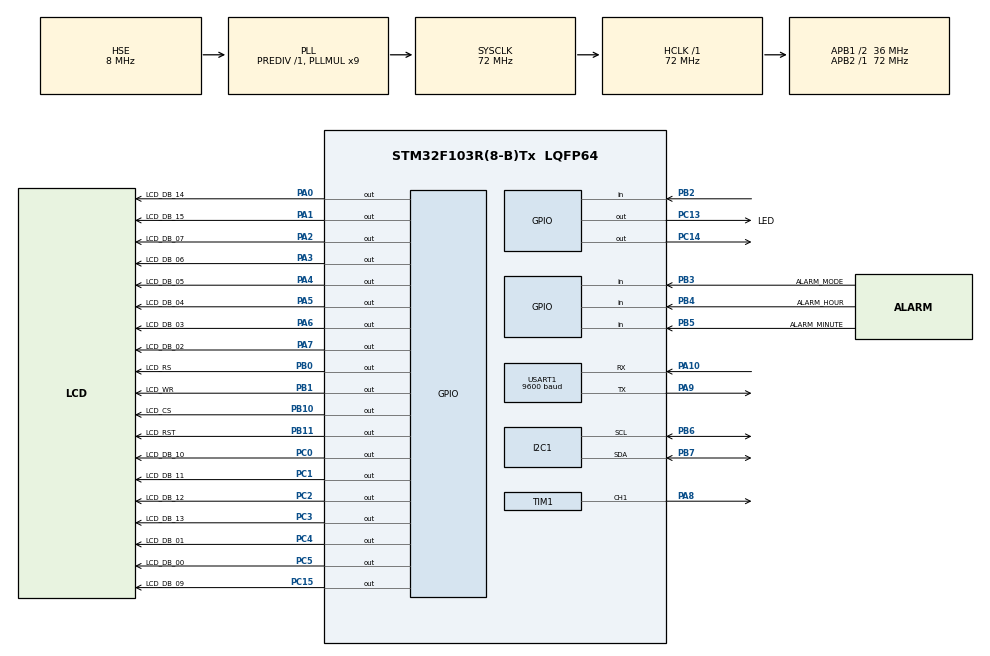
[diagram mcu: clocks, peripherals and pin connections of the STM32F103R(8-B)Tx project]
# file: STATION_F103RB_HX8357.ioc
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Dma.Request0=USART1_TX
Dma.Request1=USART1_RX
Dma.Request2=TIM1_CH1
Dma.TIM1_CH1.2.Direction=DMA_PERIPH_TO_MEMORY
Dma.TIM1_CH1.2.Instance=DMA1_Channel2
Dma.TIM1_CH1.2.MemDataAlignment=DMA_MDATAALIGN_HALFWORD
Dma.TIM1_CH1.2.MemInc=DMA_MINC_ENABLE
Dma.TIM1_CH1.2.Mode=DMA_NORMAL
Dma.TIM1_CH1.2.PeriphDataAlignment=DMA_PDATAALIGN_HALFWORD
Dma.TIM1_CH1.2.PeriphInc=DMA_PINC_DISABLE
Dma.TIM1_CH1.2.Priority=DMA_PRIORITY_LOW
Dma.USART1_RX.1.Direction=DMA_PERIPH_TO_MEMORY
Dma.USART1_RX.1.Instance=DMA1_Channel5
Dma.USART1_RX.1.MemDataAlignment=DMA_MDATAALIGN_BYTE
Dma.USART1_RX.1.MemInc=DMA_MINC_ENABLE
Dma.USART1_RX.1.Mode=DMA_NORMAL
Dma.USART1_RX.1.PeriphDataAlignment=DMA_PDATAALIGN_BYTE
Dma.USART1_RX.1.PeriphInc=DMA_PINC_DISABLE
Dma.USART1_RX.1.Priority=DMA_PRIORITY_LOW
Dma.USART1_TX.0.Direction=DMA_MEMORY_TO_PERIPH
Dma.USART1_TX.0.Instance=DMA1_Channel4
Dma.USART1_TX.0.MemDataAlignment=DMA_MDATAALIGN_BYTE
Dma.USART1_TX.0.MemInc=DMA_MINC_ENABLE
Dma.USART1_TX.0.Mode=DMA_NORMAL
Dma.USART1_TX.0.PeriphDataAlignment=DMA_PDATAALIGN_BYTE
Dma.USART1_TX.0.PeriphInc=DMA_PINC_DISABLE
Dma.USART1_TX.0.Priority=DMA_PRIORITY_LOW
Mcu.Family=STM32F1
Mcu.Name=STM32F103R(8-B)Tx
Mcu.Package=LQFP64
NVIC.DMA1_Channel2_IRQn=true\:0\:0\:false\:false\:true\:false\:true
NVIC.DMA1_Channel4_IRQn=true\:0\:0\:false\:false\:true\:false\:true
NVIC.DMA1_Channel5_IRQn=true\:0\:0\:false\:false\:true\:false\:true
NVIC.PriorityGroup=NVIC_PRIORITYGROUP_4
NVIC.USART1_IRQn=true\:0\:0\:false\:false\:true\:true\:true
PA0-WKUP.GPIO_Label=LCD_DB_14
PA0-WKUP.GPIO_Speed=GPIO_SPEED_FREQ_HIGH
PA0-WKUP.Signal=GPIO_Output
PA1.GPIO_Label=LCD_DB_15
PA1.GPIO_Speed=GPIO_SPEED_FREQ_HIGH
PA1.Signal=GPIO_Output
PA10.Mode=Asynchronous
PA10.Signal=USART1_RX
PA13.Mode=Serial_Wire
PA13.Signal=SYS_JTMS-SWDIO
PA14.Mode=Serial_Wire
PA14.Signal=SYS_JTCK-SWCLK
PA2.GPIO_Label=LCD_DB_07
PA2.GPIO_Speed=GPIO_SPEED_FREQ_HIGH
PA2.Signal=GPIO_Output
PA3.GPIO_Label=LCD_DB_06
PA3.GPIO_Speed=GPIO_SPEED_FREQ_HIGH
PA3.Signal=GPIO_Output
PA4.GPIO_Label=LCD_DB_05
PA4.GPIO_Speed=GPIO_SPEED_FREQ_HIGH
PA4.Signal=GPIO_Output
PA5.GPIO_Label=LCD_DB_04
PA5.GPIO_Speed=GPIO_SPEED_FREQ_HIGH
PA5.Signal=GPIO_Output
PA6.GPIO_Label=LCD_DB_03
PA6.GPIO_Speed=GPIO_SPEED_FREQ_HIGH
PA6.Signal=GPIO_Output
PA7.GPIO_Label=LCD_DB_02
PA7.GPIO_Speed=GPIO_SPEED_FREQ_HIGH
PA7.Signal=GPIO_Output
PA8.Signal=S_TIM1_CH1
PA9.Mode=Asynchronous
PA9.Signal=USART1_TX
PB0.GPIO_Label=LCD_RS
PB0.GPIO_Speed=GPIO_SPEED_FREQ_HIGH
PB0.Signal=GPIO_Output
PB1.GPIO_Label=LCD_WR
PB1.GPIO_Speed=GPIO_SPEED_FREQ_HIGH
PB1.Signal=GPIO_Output
PB10.GPIO_Label=LCD_CS
PB10.GPIO_Speed=GPIO_SPEED_FREQ_HIGH
PB10.Signal=GPIO_Output
PB11.GPIO_Label=LCD_RST
PB11.GPIO_Speed=GPIO_SPEED_FREQ_HIGH
PB11.Signal=GPIO_Output
PB2.Signal=GPIO_Input
PB3.GPIO_Label=ALARM_MODE
PB3.Signal=GPIO_Input
PB4.GPIO_Label=ALARM_HOUR
PB4.Signal=GPIO_Input
PB5.GPIO_Label=ALARM_MINUTE
PB5.Signal=GPIO_Input
PB6.Mode=I2C
PB6.Signal=I2C1_SCL
PB7.Mode=I2C
PB7.Signal=I2C1_SDA
PC0.GPIO_Label=LCD_DB_10
PC0.GPIO_Speed=GPIO_SPEED_FREQ_HIGH
PC0.Signal=GPIO_Output
PC1.GPIO_Label=LCD_DB_11
PC1.GPIO_Speed=GPIO_SPEED_FREQ_HIGH
PC1.Signal=GPIO_Output
PC13-TAMPER-RTC.GPIO_Label=LED
PC13-TAMPER-RTC.Signal=GPIO_Output
PC14-OSC32_IN.Signal=GPIO_Output
PC15-OSC32_OUT.GPIO_Label=LCD_DB_09
PC15-OSC32_OUT.GPIO_Speed=GPIO_SPEED_FREQ_HIGH
PC15-OSC32_OUT.Signal=GPIO_Output
PC2.GPIO_Label=LCD_DB_12
PC2.GPIO_Speed=GPIO_SPEED_FREQ_HIGH
PC2.Signal=GPIO_Output
PC3.GPIO_Label=LCD_DB_13
PC3.GPIO_Speed=GPIO_SPEED_FREQ_HIGH
PC3.Signal=GPIO_Output
PC4.GPIO_Label=LCD_DB_01
PC4.GPIO_Speed=GPIO_SPEED_FREQ_HIGH
PC4.Signal=GPIO_Output
PC5.GPIO_Label=LCD_DB_00
PC5.GPIO_Speed=GPIO_SPEED_FREQ_HIGH
PC5.Signal=GPIO_Output
PD0-OSC_IN.Mode=HSE-External-Oscillator
PD0-OSC_IN.Signal=RCC_OSC_IN
PD1-OSC_OUT.Mode=HSE-External-Oscillator
PD1-OSC_OUT.Signal=RCC_OSC_OUT
ProjectManager.HeapSize=0x200
ProjectManager.StackSize=0x400
ProjectManager.TargetToolchain=STM32CubeIDE
RCC.AHBFreq_Value=72000000
RCC.APB1CLKDivider=RCC_HCLK_DIV2
RCC.APB1Freq_Value=36000000
RCC.APB1TimFreq_Value=72000000
RCC.APB2Freq_Value=72000000
RCC.APB2TimFreq_Value=72000000
RCC.HCLKFreq_Value=72000000
RCC.PLLMUL=RCC_PLL_MUL9
RCC.PLLSourceVirtual=RCC_PLLSOURCE_HSE
RCC.SYSCLKFreq_VALUE=72000000
RCC.SYSCLKSource=RCC_SYSCLKSOURCE_PLLCLK
RCC.USBFreq_Value=72000000
SH.S_TIM1_CH1.0=TIM1_CH1,PWM Generation1 CH1
TIM1.Channel-PWM\ Generation1\ CH1=TIM_CHANNEL_1
USART1.BaudRate=9600
USART1.VirtualMode=VM_ASYNC
VP_TIM1_VS_ClockSourceINT.Mode=Internal
board=custom

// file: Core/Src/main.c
/* USER CODE BEGIN Header */
/**
 ******************************************************************************
 * @file           : main.c
 * @brief          : Main program body
 ******************************************************************************
 * @attention
 *
 * Copyright (c) 2022 STMicroelectronics.
 * All rights reserved.
 *
 * This software is licensed under terms that can be found in the LICENSE file
 * in the root directory of this software component.
 * If no LICENSE file comes with this software, it is provided AS-IS.
 *
 ******************************************************************************
 */
/* USER CODE END Header */
#include "main.h"

/* USER CODE BEGIN Includes */
#include <stdio.h>
#include <math.h>
#include "string.h"
#include "hx8357.h"
#include "bme280.h"
#include "ds3231.h"
#include "at24xx.h"
#include "fonts/DejaVu_Sans/008_DejaVu_Sans.h"
#include "fonts/DejaVu_Sans/009_DejaVu_Sans.h"
#include "fonts/DejaVu_Sans/010_DejaVu_Sans.h"
#include "fonts/DejaVu_Sans/011_DejaVu_Sans.h"
#include "fonts/DejaVu_Sans/012_DejaVu_Sans.h"
#include "fonts/DejaVu_Sans/014_DejaVu_Sans.h"
#include "fonts/DejaVu_Sans/016_DejaVu_Sans.h"
#include "fonts/DejaVu_Sans/018_DejaVu_Sans.h"
#include "fonts/DejaVu_Sans/020_DejaVu_Sans.h"
#include "fonts/DejaVu_Sans/022_DejaVu_Sans.h"
#include "fonts/DejaVu_Sans/024_DejaVu_Sans.h"
#include "fonts/DejaVu_Sans/026_DejaVu_Sans.h"
#include "fonts/DejaVu_Sans/028_DejaVu_Sans.h"
#include "fonts/DejaVu_Sans/036_DejaVu_Sans.h"
#include "fonts/DejaVu_Sans/048_DejaVu_Sans.h"
#include "fonts/DejaVu_Sans/072_DejaVu_Sans.h"
#include "fonts/DejaVu_Sans/096_DejaVu_Sans.h"
#include "fonts/DejaVu_Sans/112_DejaVu_Sans.h"
#include "fonts/DejaVu_Sans/128_DejaVu_Sans.h"

/* USER CODE END Includes */

/* USER CODE BEGIN PD */
#define MIN_TEMPERATURE_X10 226
#define MAX_TEMPERATURE_X10 290

#define MIN_HUMIDITY_X10 80
#define MAX_HUMIDITY_X10 720

#define MIN_PRESSURE 937
#define MAX_PRESSURE 1065

#define UART_RX_BUFFER_SIZE 16
#define UART_TX_BUFFER_SIZE 10000

#define WAIT_REMOTE_SENSOR_SEC 100
/* USER CODE END PD */

/* USER CODE BEGIN PM */
double map(uint16_t x, uint16_t in_min, uint16_t in_max, uint16_t out_min, uint16_t out_max) {
	return (x - in_min) * (out_max - out_min) / (in_max - in_min) + out_min;
}

uint8_t byteL(uint16_t val) {
	return (val & 0xFF);
}

uint8_t byteH(uint16_t val) {
	return ((val >> 8) & 0xFF);
}

uint16_t byteS(uint8_t byteL, uint8_t byteH) {
	return (byteH << 8) | byteL;
}
/* USER CODE END PM */

I2C_HandleTypeDef hi2c1;

TIM_HandleTypeDef htim1;
DMA_HandleTypeDef hdma_tim1_ch1;

UART_HandleTypeDef huart1;
DMA_HandleTypeDef hdma_usart1_tx;
DMA_HandleTypeDef hdma_usart1_rx;

/* USER CODE BEGIN PV */
uint8_t viewGraphs;
uint8_t rtcSec, rtcMin, rtcHrs, rtcDay, rtcDate, rtcMonth, rtcYear;
uint8_t rtcSecLast = 61, rtcMinLast = 61, rtcHrsLast = 25, rtcDayLast, rtcDateLast, rtcMonthLast, rtcYearLast;
double temperature, temperatureLast, humidity, humidityLast, temperatureRemote, temperatureRemoteLast, humidityRemote, humidityRemoteLast;
uint16_t pressure, pressureLast, remoteSensorLastUpdate = WAIT_REMOTE_SENSOR_SEC + 1;
int16_t hT[155], hH[155], hP[155];
/* USER CODE END PV */

void SystemClock_Config(void);
static void MX_GPIO_Init(void);
static void MX_I2C1_Init(void);
static void MX_DMA_Init(void);
static void MX_USART1_UART_Init(void);
static void MX_TIM1_Init(void);

/* USER CODE BEGIN 0 */
uint8_t rx_buffer[UART_RX_BUFFER_SIZE];
uint8_t rx_index = 0;
uint8_t rx_data;

void HAL_UART_RxCpltCallback(UART_HandleTypeDef *huart) {
	if (huart->Instance == USART1) {
		rx_buffer[rx_index++] = rx_data;
		HAL_UART_Receive_DMA(&huart1, &rx_data, 1);
	}
}
/* USER CODE END 0 */

int main(void)
{

  /* MCU Configuration--------------------------------------------------------*/

  /* Reset of all peripherals, Initializes the Flash interface and the Systick. */
  HAL_Init();

  /* Configure the system clock */
  SystemClock_Config();

  /* Initialize all configured peripherals */
  MX_GPIO_Init();
  MX_I2C1_Init();
  MX_DMA_Init();
  MX_USART1_UART_Init();
  MX_TIM1_Init();
  /* USER CODE BEGIN 2 */
	LCD_Init();

	LCD_Rect_Fill(0, 0, 480, 320, BLUE);
	LCD_Rect_Fill(1, 1, 478, 318, BLACK);

	LCD_Font(20, 127, "Waiting for I2C", &DejaVu_Sans_48, 1, RED);
	for (uint16_t i = 0; i < 155; i++) hT[i] = byteS(AT24XX_Read(i * 2 + 1000), AT24XX_Read(i * 2 + 1 + 1000));
	for (uint16_t i = 0; i < 155; i++) hH[i] = byteS(AT24XX_Read(i * 2 + 2000), AT24XX_Read(i * 2 + 1 + 2000));
	for (uint16_t i = 0; i < 155; i++) hP[i] = byteS(AT24XX_Read(i * 2 + 3000), AT24XX_Read(i * 2 + 1 + 3000));
	LCD_Font(20, 127, "Waiting for I2C", &DejaVu_Sans_48, 1, BLACK);

	BME280_Init();

	HAL_TIM_PWM_Start(&htim1, TIM_CHANNEL_1);

	//	uint8_t uartTransmit[] = "UART OK\r\n";
	//	HAL_UART_Transmit(&huart1, uartTransmit, sizeof(uartTransmit), 100);
	uint8_t uartTransmitDMA[] = "UART DMA OK\r\n";
	HAL_UART_Transmit_DMA(&huart1, uartTransmitDMA, sizeof(uartTransmitDMA));

	//	HAL_UART_Receive_IT(&huart1, &rx_data, UART_RX_BUFFER_SIZE);
	HAL_UART_Receive_DMA (&huart1, rx_buffer, UART_RX_BUFFER_SIZE);

	for (uint32_t i = 0; i <= 65536; i++) TIM1->CCR1 = i;

/*	DS3231_setHrs(10);
	DS3231_setMin(15);
	DS3231_setSec(0);
	DS3231_setDate(07);
	DS3231_setMonth(1);
	DS3231_setYear(22);
	DS3231_setDay(5);
*/
  /* USER CODE END 2 */

  /* Infinite loop */
  /* USER CODE BEGIN WHILE */
	while (1)
	{
		rtcSec = DS3231_getSec();

		char clockPrint[13];

		if (rtcSecLast != rtcSec) {

			rtcMin = DS3231_getMin();

			LCD_Circle(170, 35, 8, 0, 1, ORANGE);
			LCD_Circle(170, 75, 8, 0, 1, ORANGE);

			if (rtcSec % 2 != 0) {
				LCD_Circle(170, 35, 7, 1, 1, ORANGE);
				LCD_Circle(170, 75, 7, 1, 1, ORANGE);
				HAL_GPIO_WritePin(GPIOC, GPIO_PIN_13, GPIO_PIN_RESET);
			}
			else {
				LCD_Circle(170, 35, 7, 1, 1, BLACK);
				LCD_Circle(170, 75, 7, 1, 1, BLACK);
				HAL_GPIO_WritePin(GPIOC, GPIO_PIN_13, GPIO_PIN_SET);
			}

			if (rtcMinLast != rtcMin) {

				rtcHrs = DS3231_getHrs();

				sprintf(clockPrint, "%02d", rtcMinLast);
				LCD_Font(178, 100, clockPrint, &DejaVu_Sans_128, 1, BLACK);
				sprintf(clockPrint, "%02d", rtcMin);
				LCD_Font(178, 100, clockPrint, &DejaVu_Sans_128, 1, ORANGE);

				if (rtcHrsLast != rtcHrs) {

					rtcDay = DS3231_getDay();
					rtcDate = DS3231_getDate();
					rtcMonth = DS3231_getMonth();
					rtcYear = DS3231_getYear();

					sprintf(clockPrint, "%02d", rtcHrsLast);
					LCD_Font(0, 100, clockPrint, &DejaVu_Sans_128, 1, BLACK);
					sprintf(clockPrint, "%02d", rtcHrs);
					LCD_Font(0, 100, clockPrint, &DejaVu_Sans_128, 1, ORANGE);

					if (rtcDayLast != rtcDay) {

						static const char* days[7] = { "MON", "TUE", "WED", "THU", "FRI", "SAT", "SUN" };
						LCD_Font(5, 140, days[(7 + rtcDay - 2) % 7], &DejaVu_Sans_48, 1, BLACK);
						LCD_Font(5, 140, days[(7 + rtcDay - 1) % 7], &DejaVu_Sans_48, 1, BLUE);

						static const char* months[12] = { "JAN", "FEB", "MAR", "APR", "MAY", "JUN", "JUL", "AUG", "SEP", "OCT", "NOV", "DEC" };

						LCD_Font(150, 140, months[(12 + rtcMonth - 2) % 12], &DejaVu_Sans_48, 1, BLACK);
						LCD_Font(150, 140, months[(12 + rtcMonth - 1) % 12], &DejaVu_Sans_48, 1, CYAN);

						sprintf(clockPrint, "%02d-%02d-%02d", rtcDateLast, rtcMonthLast, rtcYearLast);
						LCD_Font(250, 140, clockPrint, &DejaVu_Sans_48, 1, BLACK);
						sprintf(clockPrint, "%02d-%02d-%02d", rtcDate, rtcMonth, rtcYear);
						LCD_Font(250, 140, clockPrint, &DejaVu_Sans_48, 1, CYAN);

						rtcDayLast = rtcDay;
						rtcDateLast = rtcDate;
					}
					rtcMonthLast = rtcMonth;
					rtcYearLast = rtcYear;
					rtcHrsLast = rtcHrs;
				}
				rtcMinLast = rtcMin;
				temperature = BME280_getTemperature(-1);
				humidity = BME280_getHumidity(-1);
				pressure = (uint16_t)BME280_getPressure();

				if (pressure > 900 && pressure < 1100 && temperature < 85 && temperature > -40 && humidity > 0 && humidity < 100) {

					if (temperature != temperatureLast) {

						char weatherPrintT[8];

						if (temperatureLast >= 10 || (temperatureLast < 0 && temperatureLast > -10)) {
							sprintf(weatherPrintT, "%.1f'C", temperatureLast);
							LCD_Font(1, 187, weatherPrintT, &DejaVu_Sans_48, 1, BLACK);
						}
						else if (temperatureLast < 10 && temperatureLast > 0) {
							sprintf(weatherPrintT, "%.1f'C", temperatureLast);
							LCD_Font(27, 187, weatherPrintT, &DejaVu_Sans_48, 1, BLACK);
						}
						else if (temperatureLast <= -10) {
							sprintf(weatherPrintT, "%2d'C", (int8_t)temperatureLast);
							LCD_Font(1, 187, weatherPrintT, &DejaVu_Sans_48, 1, BLACK);
						}

						if (temperature >= 10 || (temperature < 0 && temperature > -10)) {
							sprintf(weatherPrintT, "%.1f'C", temperature);
							LCD_Font(1, 187, weatherPrintT, &DejaVu_Sans_48, 1, ORANGE);
						}
						else if (temperature < 10 && temperature > 0) {
							sprintf(weatherPrintT, "%.1f'C", temperature);
							LCD_Font(27, 187, weatherPrintT, &DejaVu_Sans_48, 1, ORANGE);
						}
						else if (temperature <= -10) {
							sprintf(weatherPrintT, "%2d'C", (int8_t)temperature);
							LCD_Font(1, 187, weatherPrintT, &DejaVu_Sans_48, 1, ORANGE);
						}

						temperatureLast = temperature;
					}

					if (humidity != humidityLast) {

						char weatherPrintH[7];

						sprintf(weatherPrintH, "%.1f'H", humidityLast);
						if (humidityLast >= 10)
							LCD_Font(160, 187, weatherPrintH, &DejaVu_Sans_48, 1, BLACK);
						else LCD_Font(186, 187, weatherPrintH, &DejaVu_Sans_48, 1, BLACK);

						sprintf(weatherPrintH, "%.1f'H", humidity);
						if (humidity >= 10)
							LCD_Font(160, 187, weatherPrintH, &DejaVu_Sans_48, 1, CYAN);
						else LCD_Font(186, 187, weatherPrintH, &DejaVu_Sans_48, 1, CYAN);

						humidityLast = humidity;
					}

					if (pressureLast != pressure) {

						char weatherPrintP[11];

						if (pressureLast >= 1000) sprintf(weatherPrintP, "%02dP", pressureLast);
						LCD_Font(320, 187, weatherPrintP, &DejaVu_Sans_48, 1, BLACK);

						if (pressureLast < 1000) sprintf(weatherPrintP, " %02dP", pressureLast);
						LCD_Font(320, 187, weatherPrintP, &DejaVu_Sans_48, 1, BLACK);

						pressureLast = pressure;

						if (pressureLast >= 1000) sprintf(weatherPrintP, "%02dP", pressureLast);
						LCD_Font(320, 187, weatherPrintP, &DejaVu_Sans_48, 1, GREEN);

						if (pressureLast < 1000) sprintf(weatherPrintP, " %02dP", pressureLast);
						LCD_Font(320, 187, weatherPrintP, &DejaVu_Sans_48, 1, GREEN);
					}

					if (AT24XX_Read(0) != rtcHrs) {

						AT24XX_Update(0, rtcHrs);

						for (uint16_t i = 0; i < 155; i++) hT[i] = byteS(AT24XX_Read(i * 2 + 1000), AT24XX_Read(i * 2 + 1 + 1000));
						for (uint16_t i = 154; i > 0; i--) hT[i] = hT[i - 1];
						hT[0] = (uint16_t) (temperature * 10);

						for (uint16_t i = 0; i < 155; i++) {
							AT24XX_Update(i * 2 + 1000, byteL(hT[i]));
							AT24XX_Update(i * 2 + 1 + 1000, byteH(hT[i]));
						}

						for (uint16_t i = 0; i < 155; i++) hH[i] = byteS(AT24XX_Read(i * 2 + 2000), AT24XX_Read(i * 2 + 1 + 2000));
						for (uint16_t i = 154; i > 0; i--) hH[i] = hH[i - 1];
						hH[0] = (uint16_t) (humidity * 10);

						for (uint16_t i = 0; i < 155; i++) {
							AT24XX_Update(i * 2 + 2000, byteL(hH[i]));
							AT24XX_Update(i * 2 + 1 + 2000, byteH(hH[i]));
						}

						for (uint16_t i = 0; i < 155; i++) hP[i] = byteS(AT24XX_Read(i * 2 + 3000), AT24XX_Read(i * 2 + 1 + 3000));
						for (uint16_t i = 154; i > 0; i--) hP[i] = hP[i - 1];
						hP[0] = (uint16_t)pressure;

						for (uint16_t i = 0; i < 155; i++) {
							AT24XX_Update(i * 2 + 3000, byteL(hP[i]));
							AT24XX_Update(i * 2 + 1 + 3000, byteH(hP[i]));
						}

						viewGraphs = 0;
					}

					LCD_Rect(2, 189, 157, 129, 1, BLUE);
					int16_t valMap = map(((int16_t)(temperature * 10)), MIN_TEMPERATURE_X10, MAX_TEMPERATURE_X10, 0, 128);
					if (valMap < 0) valMap = 0;
					if (valMap > 127) valMap = 127;
					LCD_Line(3 + 155, 191, 3 + 155, 317, 1, BLACK);
					if (valMap) LCD_Line(3 + 155, 191 + (127 - valMap), 3 + 155, 317,
							1, RGB(255 - ((127 - valMap) * 2), 0, 255 - (255 - ((127 - valMap) * 2))));

					LCD_Rect(161, 189, 157, 129, 1, BLUE);
					valMap = map(((int16_t)(humidity * 10)), MIN_HUMIDITY_X10, MAX_HUMIDITY_X10, 0, 128);
					if (valMap < 0) valMap = 0;
					if (valMap > 127) valMap = 127;
					LCD_Line(162 + 155, 191, 162 + 155, 317, 1, BLACK);
					if (valMap) LCD_Line(162 + 155, 191 + (127 - valMap), 162 + 155, 317,
							1, RGB(255 - ((127 - valMap) * 2), 0, 255 - (255 - ((127 - valMap) * 2))));

					LCD_Rect(320, 189, 157, 129, 1, BLUE);
					valMap = map(((int16_t)(pressure)), MIN_PRESSURE, MAX_PRESSURE, 0, 128);
					if (valMap < 0) valMap = 0;
					if (valMap > 127) valMap = 127;
					LCD_Line(321 + 155, 191, 321 + 155, 317, 1, BLACK);
					if (valMap) LCD_Line(321 + 155, 191 + (127 - valMap), 321 + 155, 317,
							1, RGB(255 - ((127 - valMap) * 2), 0, 255 - (255 - ((127 - valMap) * 2))));

					if (!viewGraphs) {

						for (uint16_t i = 0; i < 155 ; i++) {
							valMap = map(((int16_t)hT[i]), MIN_TEMPERATURE_X10, MAX_TEMPERATURE_X10, 0, 128);
							if (valMap < 0) valMap = 0;
							if (valMap > 127) valMap = 127;
							LCD_Line(3 + (154-i), 191, 3 + (154-i), 317, 1, BLACK);
							if (valMap) LCD_Line(3 + (154-i), 191 + (127 - valMap), 3 + (154-i), 317,
									1, RGB(255 - ((127 - valMap) * 2), 0, 255 - (255 - ((127 - valMap) * 2))));
						}

						for (uint16_t i = 0; i < 155 ; i++) {
							valMap = map(((int16_t)hH[i]), MIN_HUMIDITY_X10, MAX_HUMIDITY_X10, 0, 128);
							if (valMap < 0) valMap = 0;
							if (valMap > 127) valMap = 127;
							LCD_Line(162 + (154-i), 191, 162 + (154-i), 317, 1, BLACK);
							if (valMap) LCD_Line(162 + (154-i), 191 + (127 - valMap), 162 + (154-i), 317,
									1, RGB(255 - ((127 - valMap) * 2), 0, 255 - (255 - ((127 - valMap) * 2))));
						}

						for (uint16_t i = 0; i < 155 ; i++) {
							valMap = map(((int16_t)hP[i]), MIN_PRESSURE, MAX_PRESSURE, 0, 128);
							if (valMap < 0) valMap = 0;
							if (valMap > 127) valMap = 127;
							LCD_Line(321 + (154-i), 191, 321 + (154-i), 317, 1, BLACK);
							if (valMap) LCD_Line(321 + (154-i), 191 + (127 - valMap), 321 + (154-i), 317,
									1, RGB(255 - ((127 - valMap) * 2), 0, 255 - (255 - ((127 - valMap) * 2))));
						}
						for (uint32_t i = 0; i <= 65536; i++) TIM1->CCR1 = i;
						viewGraphs = 1;
					}
				}
			}

			if (rx_index != 0) {
				if (memcmp(rx_buffer, "TS", 2) == 0) {

					char val[2];

					val[0] = rx_buffer[2];
					val[1] = rx_buffer[3];
					DS3231_setHrs(atoi(val));

					val[0] = rx_buffer[4];
					val[1] = rx_buffer[5];
					DS3231_setMin(atoi(val));

					val[0] = 0;
					val[1] = 0;
					DS3231_setSec(atoi(val));

					val[0] = rx_buffer[6];
					val[1] = rx_buffer[7];
					DS3231_setDate(atoi(val));

					val[0] = rx_buffer[8];
					val[1] = rx_buffer[9];
					DS3231_setMonth(atoi(val));

					val[0] = rx_buffer[10];
					val[1] = rx_buffer[11];
					DS3231_setYear(atoi(val));

					val[1] = rx_buffer[12];
					DS3231_setDay(atoi(val));

					for (uint32_t i = 0; i <= 65536; i++) TIM1->CCR1 = i;
				}

				if (memcmp(rx_buffer, "CE", 2) == 0) {
					for (uint16_t i = 0; i < 4096; i++) AT24XX_Update(i, 0);
					uint8_t uartTransmit[] = "EEPROM IS CLEANED\r\n";
					HAL_UART_Transmit(&huart1, uartTransmit, sizeof(uartTransmit), 100);
				}

				if (memcmp(rx_buffer, "RS", 2) == 0) {

					char valT[4] = { 0 };

					for (uint8_t i = 0; i < 4; i++) valT[i] = rx_buffer[2 + i];

					temperatureRemote = atoi(valT);
					temperatureRemote = temperatureRemote / 10;

					char valH[3] = { 0 };

					for (uint8_t i = 0; i < 3; i++) valH[i] = rx_buffer[6 + i];

					humidityRemote = atoi(valH);
					humidityRemote = humidityRemote / 10;

					if ((temperatureRemote != temperatureRemoteLast && temperatureRemote < 85 && temperatureRemote > -40) ||
							(humidityRemote != humidityRemoteLast && humidityRemote > 0)) {

						remoteSensorLastUpdate = 0;

						sprintf(clockPrint, "%02d", rtcSecLast);
						LCD_Font(375, 40, clockPrint, &DejaVu_Sans_48, 1, BLACK);

						char weatherPrintRemoteT[5];
						if (temperatureRemoteLast <= -10) {
							sprintf(weatherPrintRemoteT, "%.1f", temperatureRemoteLast);
							LCD_Font(353, 90, weatherPrintRemoteT, &DejaVu_Sans_48, 1, BLACK);
						}
						else if (temperatureRemoteLast < 0 && temperatureRemoteLast > -10) {
							sprintf(weatherPrintRemoteT, "%.1f", temperatureRemoteLast);
							LCD_Font(385, 90, weatherPrintRemoteT, &DejaVu_Sans_48, 1, BLACK);
						}
						else if (temperatureRemoteLast > 0 && temperatureRemoteLast < 10) {
							sprintf(weatherPrintRemoteT, "+%.1f", temperatureRemoteLast);
							LCD_Font(362, 90, weatherPrintRemoteT, &DejaVu_Sans_48, 1, BLACK);
						}
						else if (temperatureRemoteLast >= 10) {
							sprintf(weatherPrintRemoteT, "+%.1f", temperatureRemoteLast);
							LCD_Font(330, 90, weatherPrintRemoteT, &DejaVu_Sans_48, 1, BLACK);
						}
						temperatureRemoteLast = temperatureRemote;
						if (temperatureRemoteLast <= -10) {
							sprintf(weatherPrintRemoteT, "%.1f", temperatureRemoteLast);
							LCD_Font(353, 90, weatherPrintRemoteT, &DejaVu_Sans_48, 1, CYAN);
						}
						else if (temperatureRemoteLast < 0 && temperatureRemoteLast > -10) {
							sprintf(weatherPrintRemoteT, "%.1f", temperatureRemoteLast);
							LCD_Font(385, 90, weatherPrintRemoteT, &DejaVu_Sans_48, 1, CYAN);
						}
						else if (temperatureRemoteLast > 0 && temperatureRemoteLast < 10) {
							sprintf(weatherPrintRemoteT, "+%.1f", temperatureRemoteLast);
							LCD_Font(362, 90, weatherPrintRemoteT, &DejaVu_Sans_48, 1, CYAN);
						}
						else if (temperatureRemoteLast >= 10) {
							sprintf(weatherPrintRemoteT, "+%.1f", temperatureRemoteLast);
							LCD_Font(330, 90, weatherPrintRemoteT, &DejaVu_Sans_48, 1, CYAN);
						}

						char weatherPrintRemoteH[4];

						if (humidityRemoteLast >= 10) {
							sprintf(weatherPrintRemoteH, "%.1f", humidityRemoteLast);
							LCD_Font(371, 40, weatherPrintRemoteH, &DejaVu_Sans_48, 1, BLACK);
						}
						else if (humidityRemoteLast < 10) {
							sprintf(weatherPrintRemoteH, "%.1f", humidityRemoteLast);
							LCD_Font(403, 40, weatherPrintRemoteH, &DejaVu_Sans_48, 1, BLACK);
						}

						humidityRemoteLast = humidityRemote;

						if (humidityRemoteLast >= 10) {
							sprintf(weatherPrintRemoteH, "%.1f", humidityRemoteLast);
							LCD_Font(371, 40, weatherPrintRemoteH, &DejaVu_Sans_48, 1, CYAN);
						}
						else if (humidityRemoteLast < 10) {
							sprintf(weatherPrintRemoteH, "%.1f", humidityRemoteLast);
							LCD_Font(403, 40, weatherPrintRemoteH, &DejaVu_Sans_48, 1, CYAN);
						}
					}
				}
				rx_index = 0;
				for (uint8_t i = 0; i < UART_RX_BUFFER_SIZE; i++) rx_buffer[i] = 0;
			}

			remoteSensorLastUpdate++;

			if (remoteSensorLastUpdate > WAIT_REMOTE_SENSOR_SEC) {

				if (temperatureRemoteLast && humidityRemoteLast) {

					char weatherPrintRemoteT[5];
					if (temperatureRemoteLast <= -10) {
						sprintf(weatherPrintRemoteT, "%.1f", temperatureRemoteLast);
						LCD_Font(353, 90, weatherPrintRemoteT, &DejaVu_Sans_48, 1, BLACK);
					}
					else if (temperatureRemoteLast < 0 && temperatureRemoteLast > -10) {
						sprintf(weatherPrintRemoteT, "%.1f", temperatureRemoteLast);
						LCD_Font(385, 90, weatherPrintRemoteT, &DejaVu_Sans_48, 1, BLACK);
					}
					else if (temperatureRemoteLast > 0 && temperatureRemoteLast < 10) {
						sprintf(weatherPrintRemoteT, "+%.1f", temperatureRemoteLast);
						LCD_Font(362, 90, weatherPrintRemoteT, &DejaVu_Sans_48, 1, BLACK);
					}
					else if (temperatureRemoteLast >= 10) {
						sprintf(weatherPrintRemoteT, "+%.1f", temperatureRemoteLast);
						LCD_Font(330, 90, weatherPrintRemoteT, &DejaVu_Sans_48, 1, BLACK);
					}

					char weatherPrintRemoteH[4];

					if (humidityRemoteLast >= 10) {
						sprintf(weatherPrintRemoteH, "%.1f", humidityRemoteLast);
						LCD_Font(371, 40, weatherPrintRemoteH, &DejaVu_Sans_48, 1, BLACK);
					}
					else if (humidityRemoteLast < 10) {
						sprintf(weatherPrintRemoteH, "%.1f", humidityRemoteLast);
						LCD_Font(403, 40, weatherPrintRemoteH, &DejaVu_Sans_48, 1, BLACK);
					}

					temperatureRemoteLast = 0;
					humidityRemoteLast = 0;
				}

				sprintf(clockPrint, "%02d", rtcSecLast);
				LCD_Font(375, 40, clockPrint, &DejaVu_Sans_48, 1, BLACK);
				sprintf(clockPrint, "%02d", rtcSec);
				LCD_Font(375, 40, clockPrint, &DejaVu_Sans_48, 1, ORANGE);
			}
			rtcSecLast = rtcSec;
		}
    /* USER CODE END WHILE */

	}
}

void SystemClock_Config(void)
{
  RCC_OscInitTypeDef RCC_OscInitStruct = {0};
  RCC_ClkInitTypeDef RCC_ClkInitStruct = {0};

  /** Initializes the RCC Oscillators according to the specified parameters
  * in the RCC_OscInitTypeDef structure.
  */
  RCC_OscInitStruct.OscillatorType = RCC_OSCILLATORTYPE_HSE;
  RCC_OscInitStruct.HSEState = RCC_HSE_ON;
  RCC_OscInitStruct.HSEPredivValue = RCC_HSE_PREDIV_DIV1;
  RCC_OscInitStruct.HSIState = RCC_HSI_ON;
  RCC_OscInitStruct.PLL.PLLState = RCC_PLL_ON;
  RCC_OscInitStruct.PLL.PLLSource = RCC_PLLSOURCE_HSE;
  RCC_OscInitStruct.PLL.PLLMUL = RCC_PLL_MUL9;
  if (HAL_RCC_OscConfig(&RCC_OscInitStruct) != HAL_OK)
  {
    Error_Handler();
  }
  /** Initializes the CPU, AHB and APB buses clocks
  */
  RCC_ClkInitStruct.ClockType = RCC_CLOCKTYPE_HCLK|RCC_CLOCKTYPE_SYSCLK
                              |RCC_CLOCKTYPE_PCLK1|RCC_CLOCKTYPE_PCLK2;
  RCC_ClkInitStruct.SYSCLKSource = RCC_SYSCLKSOURCE_PLLCLK;
  RCC_ClkInitStruct.AHBCLKDivider = RCC_SYSCLK_DIV1;
  RCC_ClkInitStruct.APB1CLKDivider = RCC_HCLK_DIV2;
  RCC_ClkInitStruct.APB2CLKDivider = RCC_HCLK_DIV1;

  if (HAL_RCC_ClockConfig(&RCC_ClkInitStruct, FLASH_LATENCY_2) != HAL_OK)
  {
    Error_Handler();
  }
}

static void MX_I2C1_Init(void)
{

  hi2c1.Instance = I2C1;
  hi2c1.Init.ClockSpeed = 100000;
  hi2c1.Init.DutyCycle = I2C_DUTYCYCLE_2;
  hi2c1.Init.OwnAddress1 = 0;
  hi2c1.Init.AddressingMode = I2C_ADDRESSINGMODE_7BIT;
  hi2c1.Init.DualAddressMode = I2C_DUALADDRESS_DISABLE;
  hi2c1.Init.OwnAddress2 = 0;
  hi2c1.Init.GeneralCallMode = I2C_GENERALCALL_DISABLE;
  hi2c1.Init.NoStretchMode = I2C_NOSTRETCH_DISABLE;
  if (HAL_I2C_Init(&hi2c1) != HAL_OK)
  {
    Error_Handler();
  }

}

static void MX_TIM1_Init(void)
{

  TIM_ClockConfigTypeDef sClockSourceConfig = {0};
  TIM_MasterConfigTypeDef sMasterConfig = {0};
  TIM_OC_InitTypeDef sConfigOC = {0};
  TIM_BreakDeadTimeConfigTypeDef sBreakDeadTimeConfig = {0};

  htim1.Instance = TIM1;
  htim1.Init.Prescaler = 0;
  htim1.Init.CounterMode = TIM_COUNTERMODE_UP;
  htim1.Init.Period = 65535;
  htim1.Init.ClockDivision = TIM_CLOCKDIVISION_DIV1;
  htim1.Init.RepetitionCounter = 0;
  htim1.Init.AutoReloadPreload = TIM_AUTORELOAD_PRELOAD_DISABLE;
  if (HAL_TIM_Base_Init(&htim1) != HAL_OK)
  {
    Error_Handler();
  }
  sClockSourceConfig.ClockSource = TIM_CLOCKSOURCE_INTERNAL;
  if (HAL_TIM_ConfigClockSource(&htim1, &sClockSourceConfig) != HAL_OK)
  {
    Error_Handler();
  }
  if (HAL_TIM_PWM_Init(&htim1) != HAL_OK)
  {
    Error_Handler();
  }
  sMasterConfig.MasterOutputTrigger = TIM_TRGO_RESET;
  sMasterConfig.MasterSlaveMode = TIM_MASTERSLAVEMODE_DISABLE;
  if (HAL_TIMEx_MasterConfigSynchronization(&htim1, &sMasterConfig) != HAL_OK)
  {
    Error_Handler();
  }
  sConfigOC.OCMode = TIM_OCMODE_PWM1;
  sConfigOC.Pulse = 0;
  sConfigOC.OCPolarity = TIM_OCPOLARITY_HIGH;
  sConfigOC.OCNPolarity = TIM_OCNPOLARITY_HIGH;
  sConfigOC.OCFastMode = TIM_OCFAST_DISABLE;
  sConfigOC.OCIdleState = TIM_OCIDLESTATE_RESET;
  sConfigOC.OCNIdleState = TIM_OCNIDLESTATE_RESET;
  if (HAL_TIM_PWM_ConfigChannel(&htim1, &sConfigOC, TIM_CHANNEL_1) != HAL_OK)
  {
    Error_Handler();
  }
  sBreakDeadTimeConfig.OffStateRunMode = TIM_OSSR_DISABLE;
  sBreakDeadTimeConfig.OffStateIDLEMode = TIM_OSSI_DISABLE;
  sBreakDeadTimeConfig.LockLevel = TIM_LOCKLEVEL_OFF;
  sBreakDeadTimeConfig.DeadTime = 0;
  sBreakDeadTimeConfig.BreakState = TIM_BREAK_DISABLE;
  sBreakDeadTimeConfig.BreakPolarity = TIM_BREAKPOLARITY_HIGH;
  sBreakDeadTimeConfig.AutomaticOutput = TIM_AUTOMATICOUTPUT_DISABLE;
  if (HAL_TIMEx_ConfigBreakDeadTime(&htim1, &sBreakDeadTimeConfig) != HAL_OK)
  {
    Error_Handler();
  }
  HAL_TIM_MspPostInit(&htim1);

}

static void MX_USART1_UART_Init(void)
{

  huart1.Instance = USART1;
  huart1.Init.BaudRate = 9600;
  huart1.Init.WordLength = UART_WORDLENGTH_8B;
  huart1.Init.StopBits = UART_STOPBITS_1;
  huart1.Init.Parity = UART_PARITY_NONE;
  huart1.Init.Mode = UART_MODE_TX_RX;
  huart1.Init.HwFlowCtl = UART_HWCONTROL_NONE;
  huart1.Init.OverSampling = UART_OVERSAMPLING_16;
  if (HAL_UART_Init(&huart1) != HAL_OK)
  {
    Error_Handler();
  }

}

static void MX_DMA_Init(void)
{

  /* DMA controller clock enable */
  __HAL_RCC_DMA1_CLK_ENABLE();

  /* DMA interrupt init */
  /* DMA1_Channel2_IRQn interrupt configuration */
  HAL_NVIC_SetPriority(DMA1_Channel2_IRQn, 0, 0);
  HAL_NVIC_EnableIRQ(DMA1_Channel2_IRQn);
  /* DMA1_Channel4_IRQn interrupt configuration */
  HAL_NVIC_SetPriority(DMA1_Channel4_IRQn, 0, 0);
  HAL_NVIC_EnableIRQ(DMA1_Channel4_IRQn);
  /* DMA1_Channel5_IRQn interrupt configuration */
  HAL_NVIC_SetPriority(DMA1_Channel5_IRQn, 0, 0);
  HAL_NVIC_EnableIRQ(DMA1_Channel5_IRQn);

}

static void MX_GPIO_Init(void)
{
  GPIO_InitTypeDef GPIO_InitStruct = {0};

  /* GPIO Ports Clock Enable */
  __HAL_RCC_GPIOC_CLK_ENABLE();
  __HAL_RCC_GPIOD_CLK_ENABLE();
  __HAL_RCC_GPIOA_CLK_ENABLE();
  __HAL_RCC_GPIOB_CLK_ENABLE();

  /*Configure GPIO pin Output Level */
  HAL_GPIO_WritePin(GPIOC, LED_Pin|GPIO_PIN_14|LCD_DB_09_Pin|LCD_DB_10_Pin
                          |LCD_DB_11_Pin|LCD_DB_12_Pin|LCD_DB_13_Pin|LCD_DB_01_Pin
                          |LCD_DB_00_Pin, GPIO_PIN_RESET);

  /*Configure GPIO pin Output Level */
  HAL_GPIO_WritePin(GPIOA, LCD_DB_14_Pin|LCD_DB_15_Pin|LCD_DB_07_Pin|LCD_DB_06_Pin
                          |LCD_DB_05_Pin|LCD_DB_04_Pin|LCD_DB_03_Pin|LCD_DB_02_Pin, GPIO_PIN_RESET);

  /*Configure GPIO pin Output Level */
  HAL_GPIO_WritePin(GPIOB, LCD_RS_Pin|LCD_WR_Pin|LCD_CS_Pin|LCD_RST_Pin, GPIO_PIN_RESET);

  /*Configure GPIO pins : LED_Pin PC14 */
  GPIO_InitStruct.Pin = LED_Pin|GPIO_PIN_14;
  GPIO_InitStruct.Mode = GPIO_MODE_OUTPUT_PP;
  GPIO_InitStruct.Pull = GPIO_NOPULL;
  GPIO_InitStruct.Speed = GPIO_SPEED_FREQ_LOW;
  HAL_GPIO_Init(GPIOC, &GPIO_InitStruct);

  /*Configure GPIO pins : LCD_DB_09_Pin LCD_DB_10_Pin LCD_DB_11_Pin LCD_DB_12_Pin
                           LCD_DB_13_Pin LCD_DB_01_Pin LCD_DB_00_Pin */
  GPIO_InitStruct.Pin = LCD_DB_09_Pin|LCD_DB_10_Pin|LCD_DB_11_Pin|LCD_DB_12_Pin
                          |LCD_DB_13_Pin|LCD_DB_01_Pin|LCD_DB_00_Pin;
  GPIO_InitStruct.Mode = GPIO_MODE_OUTPUT_PP;
  GPIO_InitStruct.Pull = GPIO_NOPULL;
  GPIO_InitStruct.Speed = GPIO_SPEED_FREQ_HIGH;
  HAL_GPIO_Init(GPIOC, &GPIO_InitStruct);

  /*Configure GPIO pins : LCD_DB_14_Pin LCD_DB_15_Pin LCD_DB_07_Pin LCD_DB_06_Pin
                           LCD_DB_05_Pin LCD_DB_04_Pin LCD_DB_03_Pin LCD_DB_02_Pin */
  GPIO_InitStruct.Pin = LCD_DB_14_Pin|LCD_DB_15_Pin|LCD_DB_07_Pin|LCD_DB_06_Pin
                          |LCD_DB_05_Pin|LCD_DB_04_Pin|LCD_DB_03_Pin|LCD_DB_02_Pin;
  GPIO_InitStruct.Mode = GPIO_MODE_OUTPUT_PP;
  GPIO_InitStruct.Pull = GPIO_NOPULL;
  GPIO_InitStruct.Speed = GPIO_SPEED_FREQ_HIGH;
  HAL_GPIO_Init(GPIOA, &GPIO_InitStruct);

  /*Configure GPIO pins : LCD_RS_Pin LCD_WR_Pin LCD_CS_Pin LCD_RST_Pin */
  GPIO_InitStruct.Pin = LCD_RS_Pin|LCD_WR_Pin|LCD_CS_Pin|LCD_RST_Pin;
  GPIO_InitStruct.Mode = GPIO_MODE_OUTPUT_PP;
  GPIO_InitStruct.Pull = GPIO_NOPULL;
  GPIO_InitStruct.Speed = GPIO_SPEED_FREQ_HIGH;
  HAL_GPIO_Init(GPIOB, &GPIO_InitStruct);

  /*Configure GPIO pins : PB2 ALARM_MODE_Pin ALARM_HOUR_Pin ALARM_MINUTE_Pin */
  GPIO_InitStruct.Pin = GPIO_PIN_2|ALARM_MODE_Pin|ALARM_HOUR_Pin|ALARM_MINUTE_Pin;
  GPIO_InitStruct.Mode = GPIO_MODE_INPUT;
  GPIO_InitStruct.Pull = GPIO_NOPULL;
  HAL_GPIO_Init(GPIOB, &GPIO_InitStruct);

}

void Error_Handler(void)
{
	__disable_irq();
	while (1)
	{
	}
}
